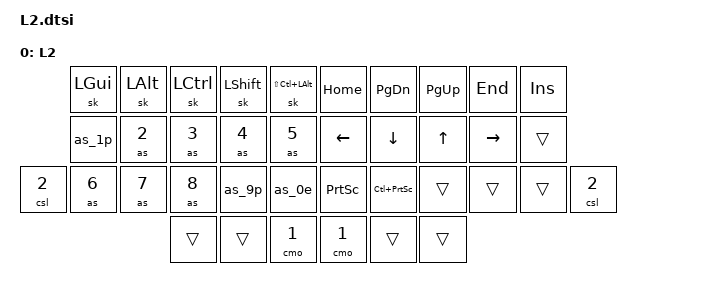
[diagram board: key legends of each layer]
/**
 * Numeric, Navigation and Symbols Layer
 */

/ {
    keymap {
        compatible = "zmk,keymap";

        layer_2 {
            display-name = "L2";
            bindings = <
//                 ╭───────────────┬───────────────┬───────────────┬───────────────┬───────────────╮   ╭───────────────┬───────────────┬───────────────┬───────────────┬───────────────╮
//                 │0              │1              │2              │3              │4              │   │5              │6              │7              │8              │9              │
                    &sk LGUI        &sk LALT        &sk LCTRL       &sk LSHIFT      &sk LS(LC(LALT))    &kp HOME        &kp PG_DN       &kp PG_UP       &kp END         &kp INS
//                 ├───────────────┼───────────────┼───────────────┼───────────────┼───────────────┤   ├───────────────├───────────────┼───────────────┼───────────────┼───────────────┤
//                 │10             │11             │12             │13             │14             │   │15             │16             │17             │18             │19             │
                    &as_1p          &as N2          &as N3          &as N4          &as N5              &kp LEFT        &kp DOWN        &kp UP          &kp RIGHT       &trans
// ╭───────────────┬───────────────┼───────────────┼───────────────┼───────────────┼───────────────┤   ├───────────────├───────────────┼───────────────┼───────────────┼───────────────┬───────────────╮
//  20             │21             │22             │23             │24             │25             │   │26             │27             │28             │29             │30             │31             │
    &csl 2          &as N6          &as N7          &as N8          &as_9p          &as_0e              &kp PSCRN       &kp LC(PSCRN)   &trans          &trans          &trans          &csl 2
// ╰───────────────┴───────────────┴───────────────┼───────────────┼───────────────┼───────────────┤   ├───────────────├───────────────┼───────────────┼───────────────┴───────────────┴───────────────╯
//                                                 │32             │33             │34             │   │35             │36             │37             │
                                                    &trans          &trans          &cmo 1              &cmo 1          &trans          &trans
//                                                 ╰───────────────┴───────────────┴───────────────╯   ╰───────────────┴───────────────┴───────────────╯
            >;
		};
	};
};
